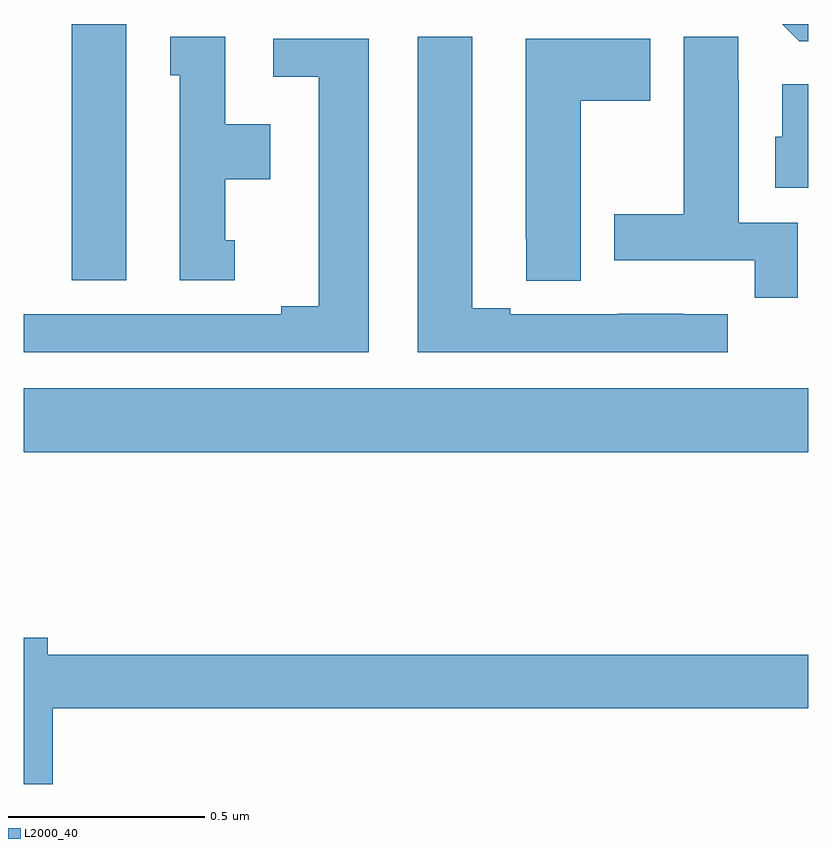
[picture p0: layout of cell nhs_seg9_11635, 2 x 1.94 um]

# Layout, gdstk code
import gdstk
lib = gdstk.Library(unit=1e-6, precision=1e-09)
def R(c, l, rs):  # rectangles x0, y0, x1, y1
    for r in rs: c.add(gdstk.rectangle(r[:2], r[2:], *l))
def P(c, l, *ps):  # polygons
    for p in ps: c.add(gdstk.Polygon(p, *l))
L2000_40 = (2000, 40)

nhs_seg9_11635 = lib.new_cell('nhs_seg9_11635')
R(nhs_seg9_11635, L2000_40, [(258,1208.408,260,1208.572), (258.122,1208.847,258.262,1209.5)])
P(nhs_seg9_11635, L2000_40, [(260,1209.5),(259.933,1209.5),(259.977,1209.456),(260,1209.456)],
  [(259.973,1208.994),(259.822,1208.994),(259.822,1209.356),(259.821,1209.356),(259.821,1209.467),(259.682,1209.467),(259.682,1209.015),(259.505,1209.015),(259.505,1208.898),(259.864,1208.898),(259.864,1208.802),(259.973,1208.802)],
  [(259.795,1208.76),(259.682,1208.76),(259.682,1208.761),(259.516,1208.761),(259.516,1208.76),(259.24,1208.76),(259.24,1208.775),(259.144,1208.775),(259.144,1209.467),(259.004,1209.467),(259.004,1208.664),(259.795,1208.664)],
  [(258.538,1208.949),(258.514,1208.949),(258.514,1209.104),(258.628,1209.104),(258.628,1209.244),(258.514,1209.244),(258.514,1209.467),(258.374,1209.467),(258.374,1209.369),(258.398,1209.369),(258.398,1208.847),(258.538,1208.847)],
  [(259.42,1209.304),(259.597,1209.304),(259.597,1209.463),(259.28,1209.463),(259.28,1208.953),(259.281,1208.953),(259.281,1208.845),(259.42,1208.845)],
  [(258.88,1209.462),(258.636,1209.462),(258.636,1209.366),(258.752,1209.366),(258.752,1208.78),(258.656,1208.78),(258.656,1208.76),(258,1208.76),(258,1208.664),(258.88,1208.664)],
  [(260,1209.346),(259.934,1209.346),(259.934,1209.213),(259.916,1209.213),(259.916,1209.083),(260,1209.083)],
  [(258.074,1207.756),(260,1207.756),(260,1207.892),(258.061,1207.892),(258.061,1207.936),(258,1207.936),(258,1207.563),(258.074,1207.563)])

lib.write_gds('nhs_seg9_11635.gds')
